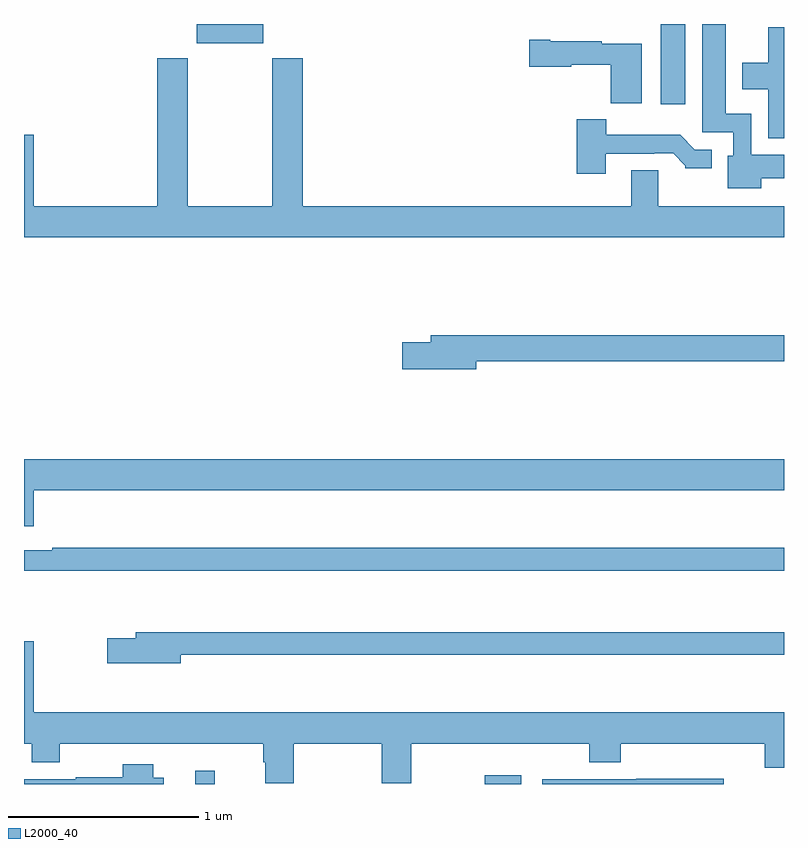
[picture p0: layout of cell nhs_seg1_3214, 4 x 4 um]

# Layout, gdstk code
import gdstk
lib = gdstk.Library(unit=1e-6, precision=1e-09)
def R(c, l, rs):  # rectangles x0, y0, x1, y1
    for r in rs: c.add(gdstk.rectangle(r[:2], r[2:], *l))
def P(c, l, *ps):  # polygons
    for p in ps: c.add(gdstk.Polygon(p, *l))
L2000_40 = (2000, 40)

nhs_seg1_3214 = lib.new_cell('nhs_seg1_3214')
R(nhs_seg1_3214, L2000_40, [(285.902,538.199,286.004,538.27), (287.424,538.199,287.617,538.246), (288.35,541.776,288.481,542.199), (285.908,542.099,286.258,542.199)])
P(nhs_seg1_3214, L2000_40, [(288.881,541.388),(289,541.388),(289,541.51),(288.828,541.51),(288.828,541.726),(288.694,541.726),(288.694,542.199),(288.569,542.199),(288.569,541.629),(288.732,541.629),(288.732,541.506),(288.704,541.506),(288.704,541.334),(288.881,541.334)],
  [(289,542.182),(288.916,542.182),(288.916,541.996),(288.779,541.996),(288.779,541.856),(288.918,541.856),(288.918,541.599),(289,541.599)],
  [(288.25,542.095),(288.042,542.095),(288.042,542.107),(287.77,542.107),(287.77,542.115),(287.658,542.115),(287.658,541.973),(287.88,541.973),(287.88,541.985),(288.088,541.985),(288.088,541.781),(288.25,541.781)],
  [(289,541.24),(288.337,541.24),(288.337,541.43),(288.197,541.43),(288.197,541.24),(286.466,541.24),(286.466,542.02),(286.306,542.02),(286.306,541.24),(285.861,541.24),(285.861,542.02),(285.701,542.02),(285.701,541.24),(285.052,541.24),(285.052,541.615),(285,541.615),(285,541.076),(289,541.076)],
  [(288.061,541.515),(288.317,541.515),(288.317,541.518),(288.416,541.518),(288.48,541.454),(288.48,541.439),(288.619,541.439),(288.619,541.536),(288.531,541.536),(288.453,541.615),(288.064,541.615),(288.064,541.699),(287.909,541.699),(287.909,541.41),(288.061,541.41)],
  [(287.38,540.424),(289,540.424),(289,540.56),(287.141,540.56),(287.141,540.524),(286.992,540.524),(286.992,540.382),(287.38,540.382)],
  [(285.052,539.744),(289,539.744),(289,539.908),(285,539.908),(285,539.556),(285.052,539.556)],
  [(289,539.443),(285.148,539.443),(285.148,539.43),(285,539.43),(285,539.322),(289,539.322)],
  [(285.826,538.878),(289,538.878),(289,538.999),(285.587,538.999),(285.587,538.965),(285.438,538.965),(285.438,538.835),(285.826,538.835)],
  [(286.419,538.412),(286.882,538.412),(286.882,538.204),(287.037,538.204),(287.037,538.412),(287.975,538.412),(287.975,538.313),(288.14,538.313),(288.14,538.412),(288.899,538.412),(288.899,538.284),(289,538.284),(289,538.576),(285.052,538.576),(285.052,538.951),(285,538.951),(285,538.412),(285.041,538.412),(285.041,538.313),(285.189,538.313),(285.189,538.412),(286.259,538.412),(286.259,538.314),(286.271,538.314),(286.271,538.204),(286.419,538.204)],
  [(285.736,538.233),(285.679,538.233),(285.679,538.303),(285.52,538.303),(285.52,538.234),(285.273,538.234),(285.273,538.224),(285,538.224),(285,538.199),(285.736,538.199)],
  [(288.684,538.226),(288.223,538.226),(288.223,538.224),(287.727,538.224),(287.727,538.199),(288.684,538.199)])

lib.write_gds('nhs_seg1_3214.gds')
